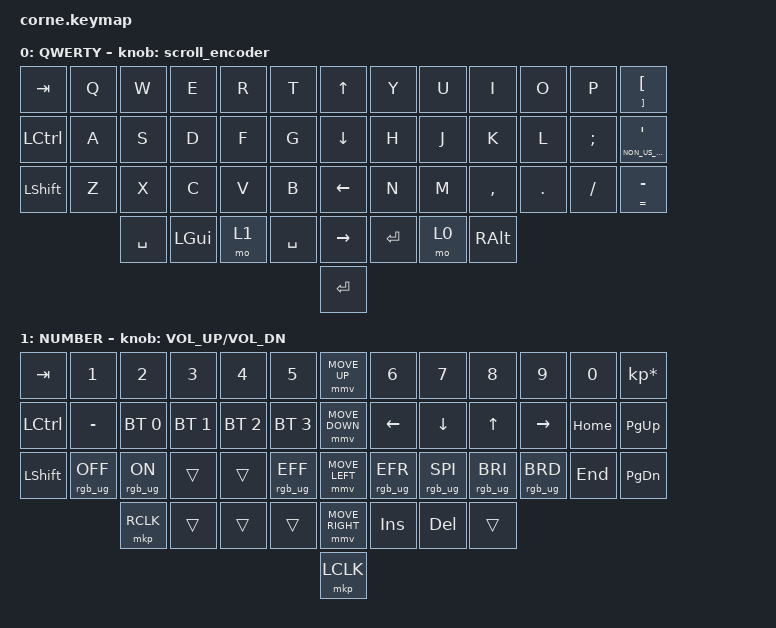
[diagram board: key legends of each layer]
#include <behaviors/mouse_keys.dtsi>
#include <dt-bindings/zmk/mouse.h>
#include <behaviors.dtsi>
#include <dt-bindings/zmk/bt.h>
#include <dt-bindings/zmk/keys.h>
#include <dt-bindings/zmk/pointing.h>
#include <dt-bindings/zmk/pointing.h>
#include <dt-bindings/zmk/pointing.h>
#include <dt-bindings/zmk/rgb.h>

#define ZMK_MOUSE_DEFAULT_MOVE_VAL 1200  // 600
#define ZMK_MOUSE_DEFAULT_SCRL_VAL 20    // 10
#define U_MS_U &mmv MOVE_UP
#define U_MS_D &mmv MOVE_DOWN
#define U_MS_L &mmv MOVE_LEFT
#define U_MS_R &mmv MOVE_RIGHT

/ {
    behaviors {
        mmv {
            acceleration-exponent = <1>;      // 1
            time-to-max-speed-ms = <900>;    // 40
            delay-ms = <0>;                   // 0
        };

        msc {
            acceleration-exponent = <1>;      // 0
            time-to-max-speed-ms = <400>;      // 500
            delay-ms = <0>;                   // 10
        };
    };

    rgb_encoder: rgb_encoder {
        compatible = "zmk,behavior-sensor-rotate";
        label = "RGB_ENCODER";
        #sensor-binding-cells = <0>;
        bindings = <&rgb_ug RGB_BRI>, <&rgb_ug RGB_BRD>;
    };

    scroll_encoder: scroll_encoder {
        compatible = "zmk,behavior-sensor-rotate";
        #sensor-binding-cells = <0>;
        bindings = <&msc SCRL_DOWN>, <&msc SCRL_UP>;

        tap-ms = <60>;
    };

    combos {
        compatible = "zmk,combos";

        combo_esc {
            bindings = <&kp ESCAPE>;
            key-positions = <0 1>;
            layers = <0 1>;
        };

        combo_delete {
            bindings = <&kp DELETE>;
            key-positions = <24 25>;
            layers = <0 1>;
        };

        combo_del {
            bindings = <&kp BSPC>;
            key-positions = <11 12>;
            layers = <0 1>;
        };
    };

    keymap {
        compatible = "zmk,keymap";

        default_layer {
            display-name = "QWERTY";

            // --------------------------------------------------------------------------------
            // |  TAB |  Q  |  W  |  E  |  R  |  T  |                ↑    |  Y  |  U   |  I  |  O  |  P  | BKSP |      &kp UP_ARROW 
            // | SHIFT |  A  |  S  |  D  |  F  |  G  |               ↓    |  H  |  J   |  K  |  L  |  ;  |  '   | 
            // | CTRL |  Z  |  X  |  C  |  V  |  B  |                ←    |  N  |  M   |  ,  |  .  |  /  | ESC  |
            //                    | GUI | LWR | SPC |                →    | ENT | RSE  | ALT |
            //                                                      enter

            bindings = <
&kp TAB    &kp Q  &kp W      &kp E     &kp R  &kp T        &kp UP_ARROW     &kp Y      &kp U  &kp I      &kp O    &kp P     &mt RIGHT_BRACKET LEFT_BRACKET
&kp LCTRL  &kp A  &kp S      &kp D     &kp F  &kp G        &kp DOWN_ARROW   &kp H      &kp J  &kp K      &kp L    &kp SEMI  &mt NON_US_BACKSLASH SQT
&kp LSHFT  &kp Z  &kp X      &kp C     &kp V  &kp B        &kp LEFT_ARROW   &kp N      &kp M  &kp COMMA  &kp DOT  &kp FSLH  &mt EQUAL MINUS
                  &kp SPACE  &kp LGUI  &mo 1  &kp SPACE    &kp RIGHT_ARROW  &kp ENTER  &mo 0  &kp RALT
                                                           &kp ENTER
            >;

            label = "QWERTY";
            sensor-bindings = <&scroll_encoder>;
        };

        lower_layer {
            display-name = "NUMBER";

            // -----------------------------------------------------------------------------------------
            // |  TAB |  1  |  2  |  3  |  4  |  5  |   |  6  |  7  |  8  |  9  |  0  | BKSP |
            // | BTCLR| BT1 | BT2 | BT3 | BT4 | BT5 |   | LFT | DWN |  UP | RGT |     |      |
            // | SHFT |     |     |     |     |     |   |     |     |     |     |     |      |
            //                    | GUI |     | SPC |   | ENT |     | ALT |

            bindings = <
&kp TAB    &kp N1           &kp N2          &kp N3        &kp N4        &kp N5             &mmv MOVE_UP     &kp N6           &kp N7           &kp N8           &kp N9           &kp N0    &kp KP_MULTIPLY
&kp LCTRL  &kp MINUS        &bt BT_SEL 0    &bt BT_SEL 1  &bt BT_SEL 2  &bt BT_SEL 3       &mmv MOVE_DOWN   &kp LEFT         &kp DOWN         &kp UP           &kp RIGHT        &kp HOME  &kp PG_UP
&kp LSHFT  &rgb_ug RGB_OFF  &rgb_ug RGB_ON  &trans        &trans        &rgb_ug RGB_EFF    &mmv MOVE_LEFT   &rgb_ug RGB_EFR  &rgb_ug RGB_SPI  &rgb_ug RGB_BRI  &rgb_ug RGB_BRD  &kp END   &kp PG_DN
                            &mkp RCLK       &trans        &trans        &trans             &mmv MOVE_RIGHT  &kp INS          &kp DEL          &trans
                                                                                           &mkp LCLK
            >;

            label = "NUMBER";
            sensor-bindings = <&inc_dec_kp C_VOLUME_UP C_VOL_DN>;
        };
    };
};
